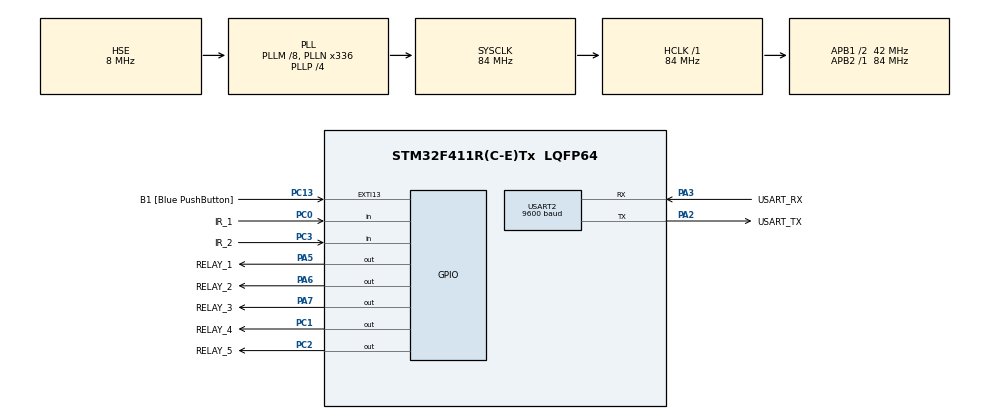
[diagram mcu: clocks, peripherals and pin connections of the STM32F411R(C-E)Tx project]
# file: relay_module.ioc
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Mcu.Family=STM32F4
Mcu.Name=STM32F411R(C-E)Tx
Mcu.Package=LQFP64
NVIC.PriorityGroup=NVIC_PRIORITYGROUP_0
NVIC.USART2_IRQn=true\:0\:0\:false\:false\:true\:true\:true\:true
PA13.GPIO_Label=TMS
PA13.Mode=Serial_Wire
PA13.Signal=SYS_JTMS-SWDIO
PA14.GPIO_Label=TCK
PA14.Mode=Serial_Wire
PA14.Signal=SYS_JTCK-SWCLK
PA2.GPIO_Label=USART_TX
PA2.Mode=Asynchronous
PA2.Signal=USART2_TX
PA3.GPIO_Label=USART_RX
PA3.Mode=Asynchronous
PA3.Signal=USART2_RX
PA5.GPIO_Label=RELAY_1
PA5.Signal=GPIO_Output
PA6.GPIO_Label=RELAY_2
PA6.Signal=GPIO_Output
PA7.GPIO_Label=RELAY_3
PA7.Signal=GPIO_Output
PB3.GPIO_Label=SWO
PB3.Signal=SYS_JTDO-SWO
PC0.GPIO_Label=IR_1
PC0.Signal=GPIO_Input
PC1.GPIO_Label=RELAY_4
PC1.Signal=GPIO_Output
PC13-ANTI_TAMP.GPIO_Label=B1 [Blue PushButton]
PC13-ANTI_TAMP.GPIO_ModeDefaultEXTI=GPIO_MODE_IT_FALLING
PC13-ANTI_TAMP.Signal=GPXTI13
PC14-OSC32_IN.Mode=LSE-External-Oscillator
PC14-OSC32_IN.Signal=RCC_OSC32_IN
PC15-OSC32_OUT.Mode=LSE-External-Oscillator
PC15-OSC32_OUT.Signal=RCC_OSC32_OUT
PC2.GPIO_Label=RELAY_5
PC2.Signal=GPIO_Output
PC3.GPIO_Label=IR_2
PC3.Signal=GPIO_Input
PH0\ -\ OSC_IN.Mode=HSE-External-Clock-Source
PH0\ -\ OSC_IN.Signal=RCC_OSC_IN
PH1\ -\ OSC_OUT.Mode=HSE-External-Clock-Source
PH1\ -\ OSC_OUT.Signal=RCC_OSC_OUT
ProjectManager.HeapSize=0x200
ProjectManager.StackSize=0x400
ProjectManager.TargetToolchain=STM32CubeIDE
RCC.48MHZClocksFreq_Value=84000000
RCC.AHBFreq_Value=84000000
RCC.APB1CLKDivider=RCC_HCLK_DIV2
RCC.APB1Freq_Value=42000000
RCC.APB1TimFreq_Value=84000000
RCC.APB2Freq_Value=84000000
RCC.APB2TimFreq_Value=84000000
RCC.CortexFreq_Value=84000000
RCC.FLatency-AdvancedSettings=FLASH_LATENCY_2
RCC.HCLKFreq_Value=84000000
RCC.HSE_VALUE=8000000
RCC.HSI_VALUE=16000000
RCC.PLLM=8
RCC.PLLN=336
RCC.PLLP=RCC_PLLP_DIV4
RCC.PLLSourceVirtual=RCC_PLLSOURCE_HSE
RCC.SYSCLKFreq_VALUE=84000000
RCC.SYSCLKSource=RCC_SYSCLKSOURCE_PLLCLK
RCC.VCOOutputFreq_Value=336000000
USART2.BaudRate=9600
USART2.VirtualMode=VM_ASYNC
board=NUCLEO-F411RE

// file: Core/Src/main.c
/* USER CODE BEGIN Header */
/**
  ******************************************************************************
  * @file           : main.c
  * @brief          : Main program body
  ******************************************************************************
  * @attention
  *
  * Copyright (c) 2026 STMicroelectronics.
  * All rights reserved.
  *
  ******************************************************************************
  */
/* USER CODE END Header */
#include "main.h"

UART_HandleTypeDef huart2;

/* USER CODE BEGIN PV */
uint8_t rx_data;
volatile uint8_t saved_command = 0; // 추가: 유효한 명령을 기억해 둘 변수
volatile uint8_t current_state = 0;
/* USER CODE END PV */

void SystemClock_Config(void);
static void MX_GPIO_Init(void);
static void MX_USART2_UART_Init(void);

/* USER CODE BEGIN PFP */
void execute_robot_action(uint8_t signal);
/* USER CODE END PFP */

int main(void)
{
  HAL_Init();
  SystemClock_Config();
  MX_GPIO_Init();
  MX_USART2_UART_Init();

  /* USER CODE BEGIN 2 */
    // 라즈베리파이 UART 수신 대기
    HAL_UART_Receive_IT(&huart2, &rx_data, 1);
    // 이전 적외선 신호 저장
    GPIO_PinState last_ir1_state = GPIO_PIN_SET;
    // 시퀀스 상태 변수
    uint8_t current_state = 0;
  /* USER CODE END 2 */

  /* Infinite loop */
  /* USER CODE BEGIN WHILE */
    while (1)
    {
       // 1. 센서 상태 읽기
      GPIO_PinState ir1_state = HAL_GPIO_ReadPin(IR_1_GPIO_Port, IR_1_Pin);
      GPIO_PinState ir2_state = HAL_GPIO_ReadPin(IR_2_GPIO_Port, IR_2_Pin);

      // 2. [보고] IR_1(입구) 상태 실시간 전송 (파이썬이 4초 판정하기 위함)
      // 변화 감지는 유지하되, 주기적으로도 현재 상태 전송 추가
      if (ir1_state != last_ir1_state) {
          if (ir1_state == GPIO_PIN_RESET) HAL_UART_Transmit(&huart2, (uint8_t*)"H\n", 2, 10);
          else                             HAL_UART_Transmit(&huart2, (uint8_t*)"L\n", 2, 10);
          last_ir1_state = ir1_state;
      }

      // 200ms마다 현재 상태 주기적 전송 추가
      static uint32_t last_report_tick = 0;
      if (HAL_GetTick() - last_report_tick >= 200) {
          if (ir1_state == GPIO_PIN_RESET) HAL_UART_Transmit(&huart2, (uint8_t*)"H\n", 2, 10);
          else                             HAL_UART_Transmit(&huart2, (uint8_t*)"L\n", 2, 10);
          last_report_tick = HAL_GetTick();
      }

      if (saved_command == 'S') {
         HAL_GPIO_WritePin(GPIOC, GPIO_PIN_2, GPIO_PIN_SET); // 벨트 ON
         current_state = 2;   // "나 이제 이송 중이야!"라고 상태 변경
         saved_command = 0;   // 명령 소비 완료
      }

      // 4. [시퀀스: 이송 중 도착 감지]
      if (current_state == 2 && ir2_state == GPIO_PIN_RESET) {
         // 도착하면 4초간 확실히 머무는지 확인
         uint8_t arrived = 1;
         for (int i = 0; i < 40; i++) {
            HAL_Delay(100);
            if (HAL_GPIO_ReadPin(IR_2_GPIO_Port, IR_2_Pin) == GPIO_PIN_SET) {
               arrived = 0; break;
            }
         }

         if (arrived) {
            HAL_GPIO_WritePin(GPIOC, GPIO_PIN_2, GPIO_PIN_RESET); // 1. 벨트 정지
            HAL_Delay(100);
            HAL_GPIO_WritePin(GPIOC, GPIO_PIN_1, GPIO_PIN_SET);   // 2. PC1(완료신호) SET

            // 파이썬에 End 신호
            HAL_UART_Transmit(&huart2, (uint8_t*)"E\n", 2, 10);

            current_state = 3;
         }
      }

      // 5. [시퀀스: 물건이 치워지면 초기화]
      if (current_state == 3) {
         if (HAL_GPIO_ReadPin(IR_2_GPIO_Port, IR_2_Pin) == GPIO_PIN_SET) {
            HAL_Delay(30); // 노이즈 방지
            HAL_GPIO_WritePin(GPIOC, GPIO_PIN_1, GPIO_PIN_RESET); // PC1 OFF
            current_state = 0; // 다시 처음 대기 상태로
         }
      }

      HAL_Delay(10);
    /* USER CODE END WHILE */

    }
}

void SystemClock_Config(void)
{
  RCC_OscInitTypeDef RCC_OscInitStruct = {0};
  RCC_ClkInitTypeDef RCC_ClkInitStruct = {0};

  __HAL_RCC_PWR_CLK_ENABLE();
  __HAL_PWR_VOLTAGESCALING_CONFIG(PWR_REGULATOR_VOLTAGE_SCALE1);

  RCC_OscInitStruct.OscillatorType = RCC_OSCILLATORTYPE_HSE;
  RCC_OscInitStruct.HSEState = RCC_HSE_BYPASS;
  RCC_OscInitStruct.PLL.PLLState = RCC_PLL_ON;
  RCC_OscInitStruct.PLL.PLLSource = RCC_PLLSOURCE_HSE;
  RCC_OscInitStruct.PLL.PLLM = 8;
  RCC_OscInitStruct.PLL.PLLN = 336;
  RCC_OscInitStruct.PLL.PLLP = RCC_PLLP_DIV4;
  RCC_OscInitStruct.PLL.PLLQ = 4;
  if (HAL_RCC_OscConfig(&RCC_OscInitStruct) != HAL_OK)
  {
    Error_Handler();
  }

  RCC_ClkInitStruct.ClockType = RCC_CLOCKTYPE_HCLK|RCC_CLOCKTYPE_SYSCLK
                              |RCC_CLOCKTYPE_PCLK1|RCC_CLOCKTYPE_PCLK2;
  RCC_ClkInitStruct.SYSCLKSource = RCC_SYSCLKSOURCE_PLLCLK;
  RCC_ClkInitStruct.AHBCLKDivider = RCC_SYSCLK_DIV1;
  RCC_ClkInitStruct.APB1CLKDivider = RCC_HCLK_DIV2;
  RCC_ClkInitStruct.APB2CLKDivider = RCC_HCLK_DIV1;

  if (HAL_RCC_ClockConfig(&RCC_ClkInitStruct, FLASH_LATENCY_2) != HAL_OK)
  {
    Error_Handler();
  }
}

static void MX_USART2_UART_Init(void)
{
  huart2.Instance = USART2;
  huart2.Init.BaudRate = 9600;
  huart2.Init.WordLength = UART_WORDLENGTH_8B;
  huart2.Init.StopBits = UART_STOPBITS_1;
  huart2.Init.Parity = UART_PARITY_NONE;
  huart2.Init.Mode = UART_MODE_TX_RX;
  huart2.Init.HwFlowCtl = UART_HWCONTROL_NONE;
  huart2.Init.OverSampling = UART_OVERSAMPLING_16;
  if (HAL_UART_Init(&huart2) != HAL_OK)
  {
    Error_Handler();
  }
}

static void MX_GPIO_Init(void)
{
  GPIO_InitTypeDef GPIO_InitStruct = {0};

  __HAL_RCC_GPIOC_CLK_ENABLE();
  __HAL_RCC_GPIOH_CLK_ENABLE();
  __HAL_RCC_GPIOA_CLK_ENABLE();
  __HAL_RCC_GPIOB_CLK_ENABLE();

  HAL_GPIO_WritePin(GPIOC, GPIO_PIN_1|GPIO_PIN_2|RELAY_4_Pin|RELAY_5_Pin, GPIO_PIN_RESET);
  HAL_GPIO_WritePin(GPIOA, RELAY_1_Pin|RELAY_2_Pin|RELAY_3_Pin, GPIO_PIN_RESET);

  GPIO_InitStruct.Pin = B1_Pin;
  GPIO_InitStruct.Mode = GPIO_MODE_IT_FALLING;
  GPIO_InitStruct.Pull = GPIO_NOPULL;
  HAL_GPIO_Init(B1_GPIO_Port, &GPIO_InitStruct);

  GPIO_InitStruct.Pin = IR_1_Pin|IR_2_Pin;
  GPIO_InitStruct.Mode = GPIO_MODE_INPUT;
  GPIO_InitStruct.Pull = GPIO_NOPULL;
  HAL_GPIO_Init(GPIOC, &GPIO_InitStruct);

  GPIO_InitStruct.Pin = GPIO_PIN_1|GPIO_PIN_2|RELAY_4_Pin|RELAY_5_Pin;
  GPIO_InitStruct.Mode = GPIO_MODE_OUTPUT_PP;
  GPIO_InitStruct.Pull = GPIO_NOPULL;
  GPIO_InitStruct.Speed = GPIO_SPEED_FREQ_LOW;
  HAL_GPIO_Init(GPIOC, &GPIO_InitStruct);

  GPIO_InitStruct.Pin = RELAY_1_Pin|RELAY_2_Pin|RELAY_3_Pin;
  GPIO_InitStruct.Mode = GPIO_MODE_OUTPUT_PP;
  GPIO_InitStruct.Pull = GPIO_NOPULL;
  GPIO_InitStruct.Speed = GPIO_SPEED_FREQ_LOW;
  HAL_GPIO_Init(GPIOA, &GPIO_InitStruct);
}

/* USER CODE BEGIN 4 */
void HAL_UART_RxCpltCallback(UART_HandleTypeDef *huart)
{
   if(huart->Instance == USART2)
       {
           switch(rx_data)
           {
               case 'a':
                   HAL_GPIO_WritePin(GPIOA, GPIO_PIN_5, GPIO_PIN_SET);
                   break;
               case 'A':
                   HAL_GPIO_WritePin(GPIOA, GPIO_PIN_5, GPIO_PIN_RESET);
                   break;
               case 'b':
                   HAL_GPIO_WritePin(GPIOA, GPIO_PIN_6, GPIO_PIN_SET);
                   break;
               case 'B':
                   HAL_GPIO_WritePin(GPIOA, GPIO_PIN_6, GPIO_PIN_RESET);
                   break;
               case 'c':
                   HAL_GPIO_WritePin(GPIOA, GPIO_PIN_7, GPIO_PIN_SET);
                   break;
               case 'C':
                   HAL_GPIO_WritePin(GPIOA, GPIO_PIN_7, GPIO_PIN_RESET);
                   break;

               case 'S': // Start
                  saved_command = 'S';
                  break;
               case 'T': // 비상 정지
                  HAL_GPIO_WritePin(GPIOC, GPIO_PIN_2, GPIO_PIN_RESET);
                  current_state = 0;
                  break;
               case 'Q': //즉시 현재 적외선 센서 신호 보냄
                  if (HAL_GPIO_ReadPin(IR_1_GPIO_Port, IR_1_Pin) == GPIO_PIN_RESET)
                      HAL_UART_Transmit(&huart2, (uint8_t*)"H\n", 2, 10);
                  else
                      HAL_UART_Transmit(&huart2, (uint8_t*)"L\n", 2, 10);
                  break;
           }
           HAL_UART_Receive_IT(&huart2, &rx_data, 1);
       }
}
/* USER CODE END 4 */

void Error_Handler(void)
{
  __disable_irq();
  while (1)
  {
  }
}
